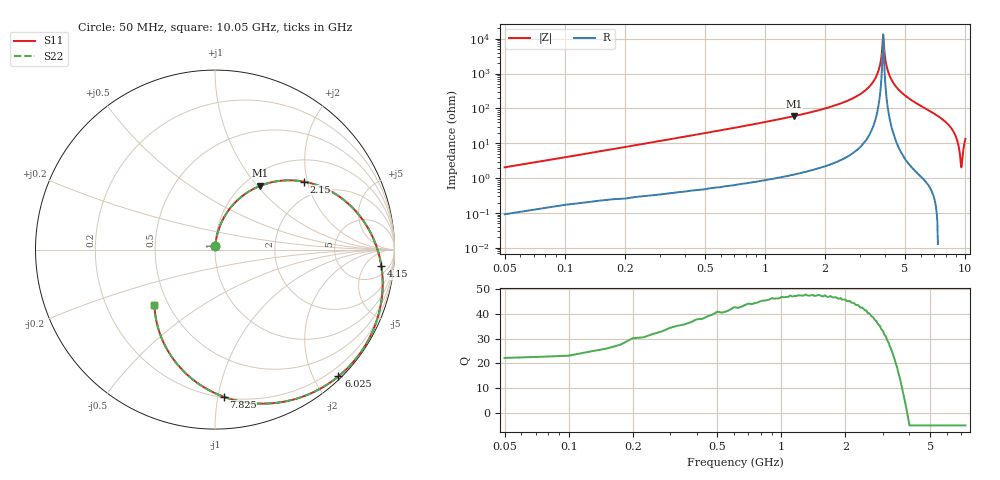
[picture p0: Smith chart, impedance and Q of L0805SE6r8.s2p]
! AVX Thin Film Operation		Date: May 2002
! Description: Accu-L® Series, Thin Film, SMD, RF Inductors
! Part Number: L08056R8CEWTR
! 50 MHz  -  10.05 GHz
! Serial Measurements
# mhz S db R 50
!	S11		S21		S12		S22
!	dB	Phase	dB	Phase	dB	Phase	dB	Phase
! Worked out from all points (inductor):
!   401 points, 50 MHz to 10.05 GHz, reference 50 ohm
!   read as 1/Y11, port 2 shorted: L = 6.25 nH near 100 MHz
!   highest Q = 47.4 at 1.4 GHz (marker M1), where L = 6.86 nH
!   self-resonance near 3.9 GHz
!   S11 on the Smith chart (normalised r, x): 50 MHz: 1.00, +0.04; 2.15 GHz: 1.54, +1.90; 4.15 GHz: 10, -13; 6.025 GHz: 0.05, -2.37; 7.825 GHz: 0.21, -1.04; 10.05 GHz: 0.42, -0.33
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50  -34.91 85.5  -0.01 -1.3  -0.01 -1.3  -34.91 85.5
200  -23.34 82.8  -0.04 -5.0  -0.04 -5.0  -23.34 82.8
450  -16.48 77.1  -0.14 -11.1  -0.14 -11.1  -16.48 77.1
850  -11.17 67.6  -0.40 -20.8  -0.40 -20.8  -11.17 67.6
1400  -7.20 54.6  -0.99 -33.7  -0.99 -33.7  -7.20 54.6
1725  -5.64 47.0  -1.47 -41.2  -1.47 -41.2  -5.64 47.0
2150  -4.10 37.4  -2.25 -50.7  -2.25 -50.7  -4.10 37.4
3400  -1.44 10.1  -5.73 -77.2  -5.73 -77.2  -1.44 10.1
4150  -0.61 -5.7  -9.25 -92.4  -9.25 -92.4  -0.61 -5.7
4675  -0.27 -16.7  -13.22 -102.6  -13.22 -102.6  -0.27 -16.7
5050  -0.12 -24.7  -18.03 -109.2  -18.03 -109.2  -0.12 -24.7
5325  -0.07 -30.6  -24.95 -111.5  -24.95 -111.5  -0.07 -30.6
5400  -0.06 -32.2  -28.46 -110.5  -28.46 -110.5  -0.06 -32.2
5500  -0.06 -34.3  -37.56 -95.8  -37.56 -95.8  -0.06 -34.3
5550  -0.06 -35.4  -37.13 -31.0  -37.13 -31.0  -0.06 -35.4
5775  -0.07 -40.3  -24.69 47.2  -24.69 47.2  -0.07 -40.3
6025  -0.12 -45.8  -18.28 45.0  -18.28 45.0  -0.12 -45.8
6725  -0.48 -61.4  -10.50 31.5  -10.50 31.5  -0.48 -61.4
7825  -1.71 -86.7  -5.14 7.8  -5.14 7.8  -1.71 -86.7
8400  -2.71 -100.0  -3.54 -4.8  -3.54 -4.8  -2.71 -100.0
9200  -4.50 -118.4  -2.08 -21.9  -2.08 -21.9  -4.50 -118.4
10050  -6.81 -137.7  -1.17 -39.4  -1.17 -39.4  -6.81 -137.7
